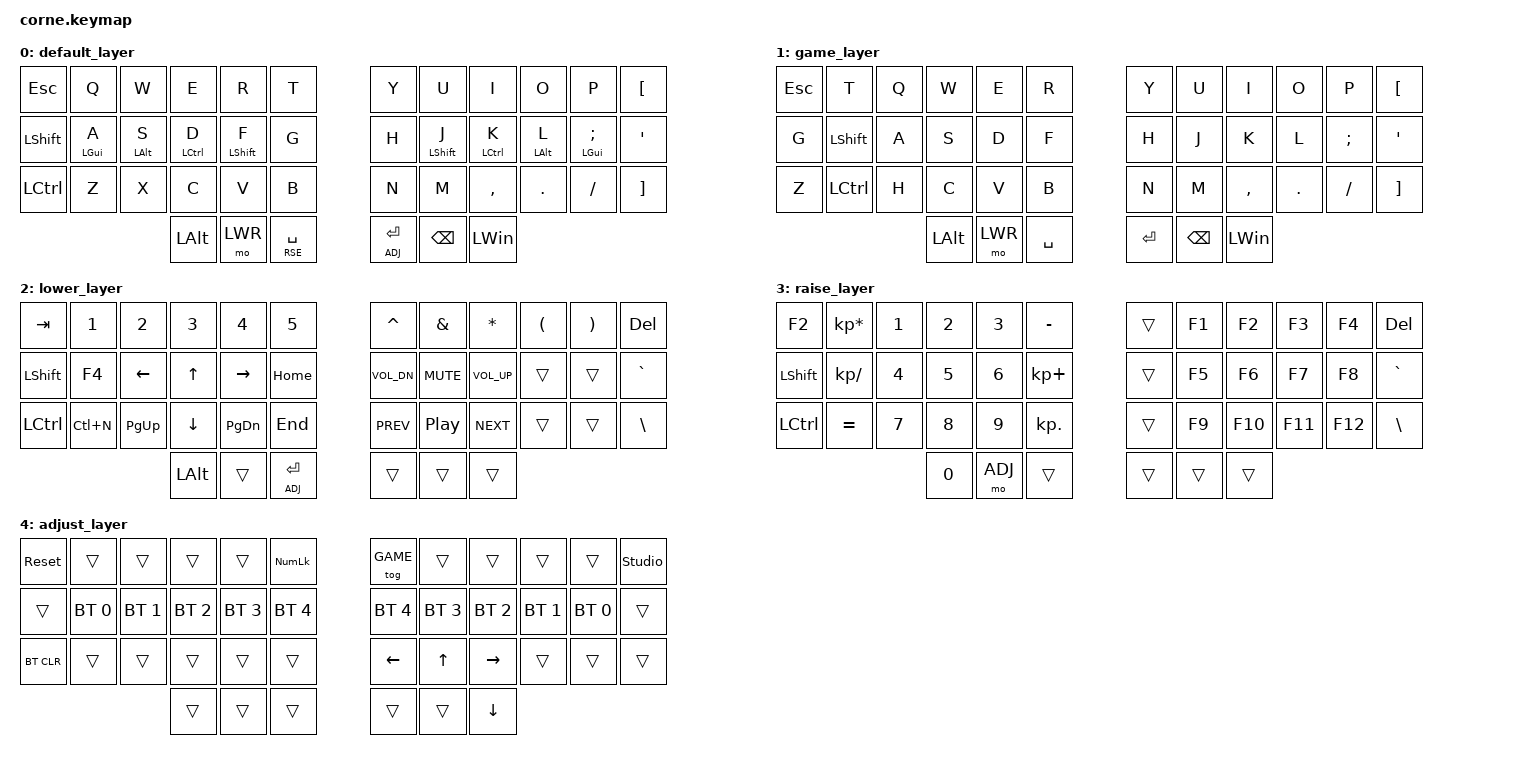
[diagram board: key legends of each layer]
/*
 * Copyright (c) 2020 The ZMK Contributors
 *
 * SPDX-License-Identifier: MIT
 */

#include <behaviors.dtsi>
#include <dt-bindings/zmk/keys.h>
#include <dt-bindings/zmk/bt.h>
#include <dt-bindings/zmk/rgb.h>

#define DEF 0
#define GAME 1
#define LWR 2
#define RSE 3
#define ADJ 4

&lt { quick_tap_ms = <200>; };
&mt { quick_tap_ms = <200>; };

/ {
    behaviors {
        hm: homerow_mods {
            compatible = "zmk,behavior-hold-tap";
            label = "HOMEROW_MODS";
            #binding-cells = <2>;
            tapping-term-ms = <200>;
            quick_tap_ms = <0>;
            flavor = "tap-preferred";
            bindings = <&kp>, <&kp>;
        };
    };
};

/ {
    combos {
        compatible = "zmk,combos";
        combo_F2 {
            timeout-ms = <50>;
            key-positions = <0 1>;
            bindings = <&kp F2>;
        };
        combo_ENTER {
            timeout-ms = <50>;
            key-positions = <3 4>;
            bindings = <&kp ENTER>;
        };
         combo_BS {
            timeout-ms = <50>;
            key-positions = <4 5>;
            bindings = <&kp BSPC>;
        };
        combo_Del {
            timeout-ms = <50>;
            key-positions = <28 29>;
            bindings = <&kp DEL>;
        };
    };
};


/ {
        keymap {
                compatible = "zmk,keymap";

                default_layer {
// .-------------------------------------------------------.       .-----------------------------------------------------------.
// |  ESC  |    Q    |    W   |   E    |    R    |    T    |       |   Y   |    U    |    I    |    O    |     P    |     [    |
// |-------+---------+--------+--------+---------+---------|       |-------+---------+---------+---------+----------+----------|
// |  SHFT |    A    |    S   |   D    |    F    |    G    |       |   H   |    J    |    K    |    L    |     ;    |     '    |
// |-------+---------+--------+--------+---------+---------|       |-------+---------+---------+---------+----------+----------|
// |  CTRL |    Z    |    X   |   C    |    V    |    B    |       |   N   |    M    |    ,    |    .    |     /    |     ]    |
// '--------------------------+--------+---------+---------+       |-------+---------+---------+-------------------------------'
//                            |  ALT   |   LWR   | RSE/SPC |       |  RET  |   BKSP  |   GUI   |
//                            '--------+---------+---------'       '-------+---------+---------'
                        bindings = <
     &kp ESC    &kp Q       &kp W       &kp E        &kp R        &kp T          &kp Y          &kp U        &kp I        &kp O       &kp P          &kp LBKT
     &kp LSHFT  &hm LGUI A  &hm LALT S  &hm LCTRL D  &hm LSHFT F  &kp G          &kp H          &hm LSHFT J  &hm LCTRL K  &hm LALT L  &hm LGUI SEMI  &kp SQT
     &kp LCTRL  &kp Z       &kp X       &kp C        &kp V        &kp B          &kp N          &kp M        &kp COMMA    &kp DOT     &kp FSLH       &kp RBKT
                            &kp LALT    &mo LWR      &lt RSE SPACE               &lt ADJ ENTER  &kp BSPC     &kp LWIN
                        >;
                };
  
  
                game_layer {
// .-------------------------------------------------------.       .-----------------------------------------------------------.
// |  ESC  |    T    |    Q   |   W    |    E    |    R    |       |   Y   |    U    |    I    |    O    |     P    |     [    |
// |-------+---------+--------+--------+---------+---------|       |-------+---------+---------+---------+----------+----------|
// |   G   |   SHFT  |    A   |   S    |    D    |    F    |       |   H   |    J    |    K    |    L    |     ;    |     '    |
// |-------+---------+--------+--------+---------+---------|       |-------+---------+---------+---------+----------+----------|
// |   Z   |   CTRL  |    H   |   C    |    V    |    B    |       |   N   |    M    |    ,    |    .    |     /    |     ]    |
// '--------------------------+--------+---------+---------+       |-------+---------+---------+-------------------------------'
//                            |  ALT   |   LWR   |   SPC   |       |  RET  |   BKSP  |   GUI   |
//                            '--------+---------+---------'       '-------+---------+---------'
                        bindings = <
     &kp ESC  &kp T      &kp Q     &kp W    &kp E   &kp R          &kp Y      &kp U     &kp I      &kp O    &kp P     &kp LBKT
     &kp G    &kp LSHFT  &kp A     &kp S    &kp D   &kp F          &kp H      &kp J     &kp K      &kp L    &kp SEMI  &kp SQT
     &kp Z    &kp LCTRL  &kp H     &kp C    &kp V   &kp B          &kp N      &kp M     &kp COMMA  &kp DOT  &kp FSLH  &kp RBKT
                         &kp LALT  &mo LWR  &kp SPACE              &kp ENTER  &kp BSPC  &kp LWIN
                        >;
                };
  
   
  
                lower_layer {
// .----------------------------------------------------------.       .-----------------------------------------------------.
// |    TAB    |   1    |   2    |   3    |    4    |    5     |       |    ^   |    &   |    *    |    (   |    )   |  DEL  |
// |-----------+--------+--------+--------+---------+----------|       |--------+--------+---------+--------+--------+-------|
// |    SHFT   |   F4   |  LEFT  |   UP   |  RIGHT  |   HOME   |       | vol up |  mute  |  vol dn |        |        |   ~   |
// |-----------+--------+--------+--------+---------+----------|       |--------+--------+---------+--------+--------+-------|
// |    CTRL   | CTRL+N |   PU   |  DOWN  |    PD   |   END    |       |  prev  |  play  |   next  |        |        |   \   |
// '-----------------------------+--------+---------+----------+       |--------+--------+---------+-------------------------'
//                               |  ALT   |         |ADJ_ENTER |       |        |        |         |
//                               '--------+---------+----------'       '--------+--------+---------'

                        bindings = <
   &kp TAB     &kp N1    &kp N2     &kp N3    &kp N4     &kp N5          &kp CARET     &kp AMPS   &kp STAR     &kp LPAR   &kp RPAR  &kp DEL
   &kp LSHFT   &kp F4    &kp LEFT   &kp UP    &kp RIGHT  &kp HOME        &kp C_VOL_DN  &kp C_MUTE &kp C_VOL_UP &trans     &trans    &kp GRAVE
   &kp LCTRL   &kp LC(N) &kp PG_UP  &kp DOWN  &kp PG_DN  &kp END         &kp C_PREV    &kp C_PP   &kp C_NEXT   &trans     &trans    &kp BSLH
                         &kp LALT   &trans    &lt ADJ ENTER              &trans   &trans   &trans
                        >;
                };
  
  
                  raise_layer {
// .------------------------------------------------------.       .-----------------------------------------------------.
// |   F2    |    *   |    1   |    2   |    3   |    -   |       |        |   F1   |   F2   |   F3   |   F4   |   DEL  |
// |---------+--------+--------+--------+--------+--------|       |--------+--------+--------+--------+--------+--------|
// |   SHFT  |    /   |    4   |    5   |    6   |    +   |       |        |   F5   |   F6   |   F7   |   F8   |    ~   |
// |---------+--------+--------+--------+--------+--------|       |--------+--------+--------+--------+--------+--------|
// |   CTRL  |    =   |    7   |    8   |    9   |    .   |       |        |   F9   |   F10  |   F11  |   F12  |    \   |
// '---------------------------+--------+--------+--------+       |-------+---------+--------+--------------------------'
//                             |    0   |   ADJ  |        |       |        |        |        |
//                             '--------+--------+--------'       '--------+--------+--------'
                        bindings = <
   &kp F2     &kp KP_ASTERISK &kp N1 &kp N2 &kp N3 &kp MINUS           &trans &kp F1  &kp F2  &kp F3  &kp F4  &kp DEL
   &kp LSHFT  &kp KP_SLASH    &kp N4 &kp N5 &kp N6 &kp KP_PLUS         &trans &kp F5  &kp F6  &kp F7  &kp F8  &kp GRAVE
   &kp LCTRL  &kp EQUAL       &kp N7 &kp N8 &kp N9 &kp KP_DOT          &trans &kp F9  &kp F10 &kp F11 &kp F12 &kp BSLH
                              &kp N0        &mo ADJ   &trans           &trans &trans  &trans
                        >;
                };


                adjust_layer {
// .--------------------------------------------------------.       .---------------------------------------------------------.
// |  reset  |        |        |        |         |  KP_NUM |       |  GAME  |        |        |        |        | zmk-studio |
// |---------+--------+--------+--------+---------+---------|       |--------+--------+--------+--------+--------+------------|
// |         |  BT1   |  BT2   |  BT3   |  BT4    |  BT5    |       |  BT5   |  BT4   |  BT3   |  BT2   |  BT1   |            |
// |---------+--------+--------+--------+---------+---------|       |--------+--------+--------+--------+--------+------------|
// |  BTCLR  |        |        |        |         |         |       |  LEFT  |   UP   |  RIGHT |        |        |            |
// '---------------------------+--------+---------+---------+       |--------+--------+--------+--------+--------+------------|
//                             |        |         |         |       |        |        |  DOWN  |
//                             '--------+---------+---------'       '--------+--------+--------'

                        bindings = <
   &sys_reset  &trans        &trans        &trans        &trans        &kp KP_NUM        &tog GAME     &trans        &trans        &trans        &trans        &studio_unlock
   &trans      &bt BT_SEL 0  &bt BT_SEL 1  &bt BT_SEL 2  &bt BT_SEL 3  &bt BT_SEL 4      &bt BT_SEL 4  &bt BT_SEL 3  &bt BT_SEL 2  &bt BT_SEL 1  &bt BT_SEL 0  &trans
   &bt BT_CLR  &trans        &trans        &trans        &trans        &trans            &kp LEFT      &kp UP        &kp RIGHT     &trans        &trans        &trans
                                           &trans        &trans        &trans            &trans        &trans        &kp DOWN
                        >;
                };
         };
};
